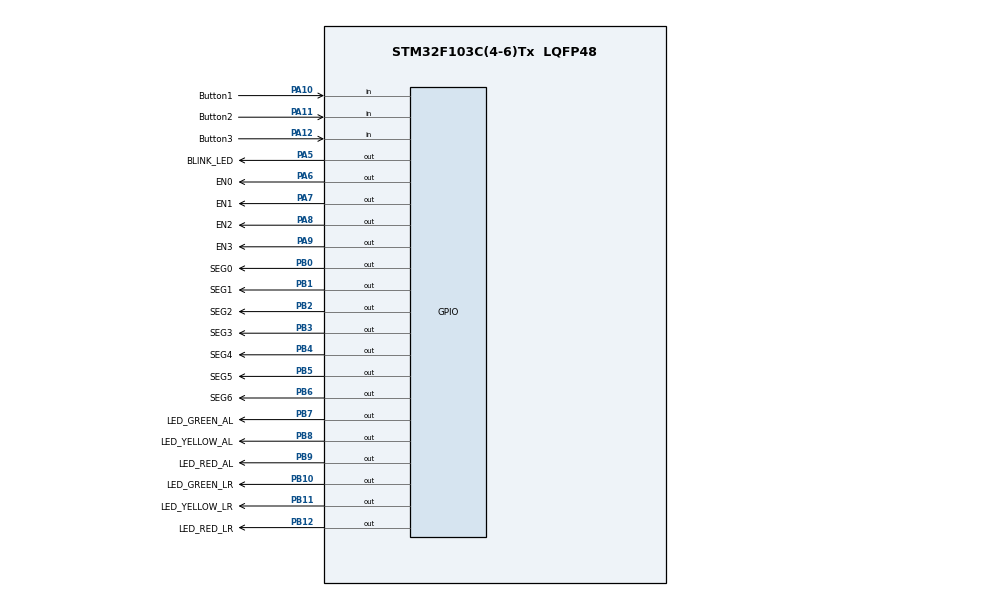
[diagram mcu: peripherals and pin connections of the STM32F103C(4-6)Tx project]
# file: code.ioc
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Mcu.Family=STM32F1
Mcu.Name=STM32F103C(4-6)Tx
Mcu.Package=LQFP48
NVIC.PriorityGroup=NVIC_PRIORITYGROUP_4
NVIC.TIM2_IRQn=true\:1\:0\:true\:false\:true\:true\:true
PA10.GPIO_Label=Button1
PA10.GPIO_PuPd=GPIO_PULLUP
PA10.Signal=GPIO_Input
PA11.GPIO_Label=Button2
PA11.GPIO_PuPd=GPIO_PULLUP
PA11.Signal=GPIO_Input
PA12.GPIO_Label=Button3
PA12.GPIO_PuPd=GPIO_PULLUP
PA12.Signal=GPIO_Input
PA13.Mode=Serial_Wire
PA13.Signal=SYS_JTMS-SWDIO
PA14.Mode=Serial_Wire
PA14.Signal=SYS_JTCK-SWCLK
PA5.GPIO_Label=BLINK_LED
PA5.Signal=GPIO_Output
PA6.GPIO_Label=EN0
PA6.Signal=GPIO_Output
PA7.GPIO_Label=EN1
PA7.Signal=GPIO_Output
PA8.GPIO_Label=EN2
PA8.Signal=GPIO_Output
PA9.GPIO_Label=EN3
PA9.Signal=GPIO_Output
PB0.GPIO_Label=SEG0
PB0.Signal=GPIO_Output
PB1.GPIO_Label=SEG1
PB1.Signal=GPIO_Output
PB10.GPIO_Label=LED_GREEN_LR
PB10.Signal=GPIO_Output
PB11.GPIO_Label=LED_YELLOW_LR
PB11.Signal=GPIO_Output
PB12.GPIO_Label=LED_RED_LR
PB12.Signal=GPIO_Output
PB2.GPIO_Label=SEG2
PB2.Signal=GPIO_Output
PB3.GPIO_Label=SEG3
PB3.Signal=GPIO_Output
PB4.GPIO_Label=SEG4
PB4.Signal=GPIO_Output
PB5.GPIO_Label=SEG5
PB5.Signal=GPIO_Output
PB6.GPIO_Label=SEG6
PB6.Signal=GPIO_Output
PB7.GPIO_Label=LED_GREEN_AL
PB7.Signal=GPIO_Output
PB8.GPIO_Label=LED_YELLOW_AL
PB8.Signal=GPIO_Output
PB9.GPIO_Label=LED_RED_AL
PB9.Signal=GPIO_Output
ProjectManager.HeapSize=0x200
ProjectManager.StackSize=0x400
ProjectManager.TargetToolchain=STM32CubeIDE
RCC.APB1Freq_Value=8000000
RCC.APB2Freq_Value=8000000
TIM2.Period=9
TIM2.Prescaler=7999
VP_TIM2_VS_ClockSourceINT.Mode=Internal
board=custom

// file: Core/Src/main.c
/* USER CODE BEGIN Header */
/**
  ******************************************************************************
  * @file           : main.c
  * @brief          : Main program body
  ******************************************************************************
  * @attention
  *
  * <h2><center>&copy; Copyright (c) 2024 STMicroelectronics.
  * All rights reserved.</center></h2>
  *
  * This software component is licensed by ST under BSD 3-Clause license,
  * the "License"; You may not use this file except in compliance with the
  * License. You may obtain a copy of the License at:
  *                        opensource.org/licenses/BSD-3-Clause
  *
  ******************************************************************************
  */
/* USER CODE END Header */
#include "main.h"

/* USER CODE BEGIN Includes */
#include "software_timer.h"
#include "led7_segment.h"
#include "fsm_automatic.h"
#include "button.h"
#include "fsm_setting.h"
#include "fsm_manual.h"
/* USER CODE END Includes */

TIM_HandleTypeDef htim2;

void SystemClock_Config(void);
static void MX_GPIO_Init(void);
static void MX_TIM2_Init(void);

/* USER CODE BEGIN 0 */
void HAL_TIM_PeriodElapsedCallback(TIM_HandleTypeDef *htim){
	if(htim->Instance == htim2.Instance){
		timeRun();
		getInputKey();
	}
}
/* USER CODE END 0 */

int main(void)
{

  /* MCU Configuration--------------------------------------------------------*/

  /* Reset of all peripherals, Initializes the Flash interface and the Systick. */
  HAL_Init();

  /* Configure the system clock */
  SystemClock_Config();

  /* Initialize all configured peripherals */
  MX_GPIO_Init();
  MX_TIM2_Init();
  /* USER CODE BEGIN 2 */
  HAL_TIM_Base_Start_IT(&htim2);
  init_display(SEG0_GPIO_Port, SEG0_Pin,
 		  	   SEG1_GPIO_Port, SEG1_Pin,
 			   SEG2_GPIO_Port, SEG2_Pin,
 			   SEG3_GPIO_Port, SEG3_Pin,
 			   SEG4_GPIO_Port, SEG4_Pin,
 			   SEG5_GPIO_Port, SEG5_Pin,
 			   SEG6_GPIO_Port, SEG6_Pin);
  setTimer(0,100);
  setTimer(3, 1000);
  setTimer(4, 100);
  /* USER CODE END 2 */

  /* Infinite loop */
  /* USER CODE BEGIN WHILE */
  while (1)
  {
	  if(getTimerFlag(3) == 1){
	  		setTimer(3, 1000);
	  		HAL_GPIO_TogglePin(GPIOA, GPIO_PIN_5);
	  }
	  if(getTimerFlag(4) == 1){
	  	  setTimer(4, 80);
	  	  scan7SEG();
	  }

	  fsm_automatic();
	  fsm_manual();
	  fsm_setting();
    /* USER CODE END WHILE */

  }
}

void SystemClock_Config(void)
{
  RCC_OscInitTypeDef RCC_OscInitStruct = {0};
  RCC_ClkInitTypeDef RCC_ClkInitStruct = {0};

  /** Initializes the RCC Oscillators according to the specified parameters
  * in the RCC_OscInitTypeDef structure.
  */
  RCC_OscInitStruct.OscillatorType = RCC_OSCILLATORTYPE_HSI;
  RCC_OscInitStruct.HSIState = RCC_HSI_ON;
  RCC_OscInitStruct.HSICalibrationValue = RCC_HSICALIBRATION_DEFAULT;
  RCC_OscInitStruct.PLL.PLLState = RCC_PLL_NONE;
  if (HAL_RCC_OscConfig(&RCC_OscInitStruct) != HAL_OK)
  {
    Error_Handler();
  }
  /** Initializes the CPU, AHB and APB buses clocks
  */
  RCC_ClkInitStruct.ClockType = RCC_CLOCKTYPE_HCLK|RCC_CLOCKTYPE_SYSCLK
                              |RCC_CLOCKTYPE_PCLK1|RCC_CLOCKTYPE_PCLK2;
  RCC_ClkInitStruct.SYSCLKSource = RCC_SYSCLKSOURCE_HSI;
  RCC_ClkInitStruct.AHBCLKDivider = RCC_SYSCLK_DIV1;
  RCC_ClkInitStruct.APB1CLKDivider = RCC_HCLK_DIV1;
  RCC_ClkInitStruct.APB2CLKDivider = RCC_HCLK_DIV1;

  if (HAL_RCC_ClockConfig(&RCC_ClkInitStruct, FLASH_LATENCY_0) != HAL_OK)
  {
    Error_Handler();
  }
}

static void MX_TIM2_Init(void)
{

  TIM_ClockConfigTypeDef sClockSourceConfig = {0};
  TIM_MasterConfigTypeDef sMasterConfig = {0};

  htim2.Instance = TIM2;
  htim2.Init.Prescaler = 7999;
  htim2.Init.CounterMode = TIM_COUNTERMODE_UP;
  htim2.Init.Period = 9;
  htim2.Init.ClockDivision = TIM_CLOCKDIVISION_DIV1;
  htim2.Init.AutoReloadPreload = TIM_AUTORELOAD_PRELOAD_DISABLE;
  if (HAL_TIM_Base_Init(&htim2) != HAL_OK)
  {
    Error_Handler();
  }
  sClockSourceConfig.ClockSource = TIM_CLOCKSOURCE_INTERNAL;
  if (HAL_TIM_ConfigClockSource(&htim2, &sClockSourceConfig) != HAL_OK)
  {
    Error_Handler();
  }
  sMasterConfig.MasterOutputTrigger = TIM_TRGO_RESET;
  sMasterConfig.MasterSlaveMode = TIM_MASTERSLAVEMODE_DISABLE;
  if (HAL_TIMEx_MasterConfigSynchronization(&htim2, &sMasterConfig) != HAL_OK)
  {
    Error_Handler();
  }

}

static void MX_GPIO_Init(void)
{
  GPIO_InitTypeDef GPIO_InitStruct = {0};

  /* GPIO Ports Clock Enable */
  __HAL_RCC_GPIOA_CLK_ENABLE();
  __HAL_RCC_GPIOB_CLK_ENABLE();

  /*Configure GPIO pin Output Level */
  HAL_GPIO_WritePin(GPIOA, BLINK_LED_Pin|EN0_Pin|EN1_Pin|EN2_Pin
                          |EN3_Pin, GPIO_PIN_RESET);

  /*Configure GPIO pin Output Level */
  HAL_GPIO_WritePin(GPIOB, SEG0_Pin|SEG1_Pin|SEG2_Pin|LED_GREEN_LR_Pin
                          |LED_YELLOW_LR_Pin|LED_RED_LR_Pin|SEG3_Pin|SEG4_Pin
                          |SEG5_Pin|SEG6_Pin|LED_GREEN_AL_Pin|LED_YELLOW_AL_Pin
                          |LED_RED_AL_Pin, GPIO_PIN_RESET);

  /*Configure GPIO pins : BLINK_LED_Pin EN0_Pin EN1_Pin EN2_Pin
                           EN3_Pin */
  GPIO_InitStruct.Pin = BLINK_LED_Pin|EN0_Pin|EN1_Pin|EN2_Pin
                          |EN3_Pin;
  GPIO_InitStruct.Mode = GPIO_MODE_OUTPUT_PP;
  GPIO_InitStruct.Pull = GPIO_NOPULL;
  GPIO_InitStruct.Speed = GPIO_SPEED_FREQ_LOW;
  HAL_GPIO_Init(GPIOA, &GPIO_InitStruct);

  /*Configure GPIO pins : SEG0_Pin SEG1_Pin SEG2_Pin LED_GREEN_LR_Pin
                           LED_YELLOW_LR_Pin LED_RED_LR_Pin SEG3_Pin SEG4_Pin
                           SEG5_Pin SEG6_Pin LED_GREEN_AL_Pin LED_YELLOW_AL_Pin
                           LED_RED_AL_Pin */
  GPIO_InitStruct.Pin = SEG0_Pin|SEG1_Pin|SEG2_Pin|LED_GREEN_LR_Pin
                          |LED_YELLOW_LR_Pin|LED_RED_LR_Pin|SEG3_Pin|SEG4_Pin
                          |SEG5_Pin|SEG6_Pin|LED_GREEN_AL_Pin|LED_YELLOW_AL_Pin
                          |LED_RED_AL_Pin;
  GPIO_InitStruct.Mode = GPIO_MODE_OUTPUT_PP;
  GPIO_InitStruct.Pull = GPIO_NOPULL;
  GPIO_InitStruct.Speed = GPIO_SPEED_FREQ_LOW;
  HAL_GPIO_Init(GPIOB, &GPIO_InitStruct);

  /*Configure GPIO pins : Button1_Pin Button2_Pin Button3_Pin */
  GPIO_InitStruct.Pin = Button1_Pin|Button2_Pin|Button3_Pin;
  GPIO_InitStruct.Mode = GPIO_MODE_INPUT;
  GPIO_InitStruct.Pull = GPIO_PULLUP;
  HAL_GPIO_Init(GPIOA, &GPIO_InitStruct);

}

void Error_Handler(void)
{
  __disable_irq();
  while (1)
  {
  }
}

/************************ (C) COPYRIGHT STMicroelectronics *****END OF FILE****/
